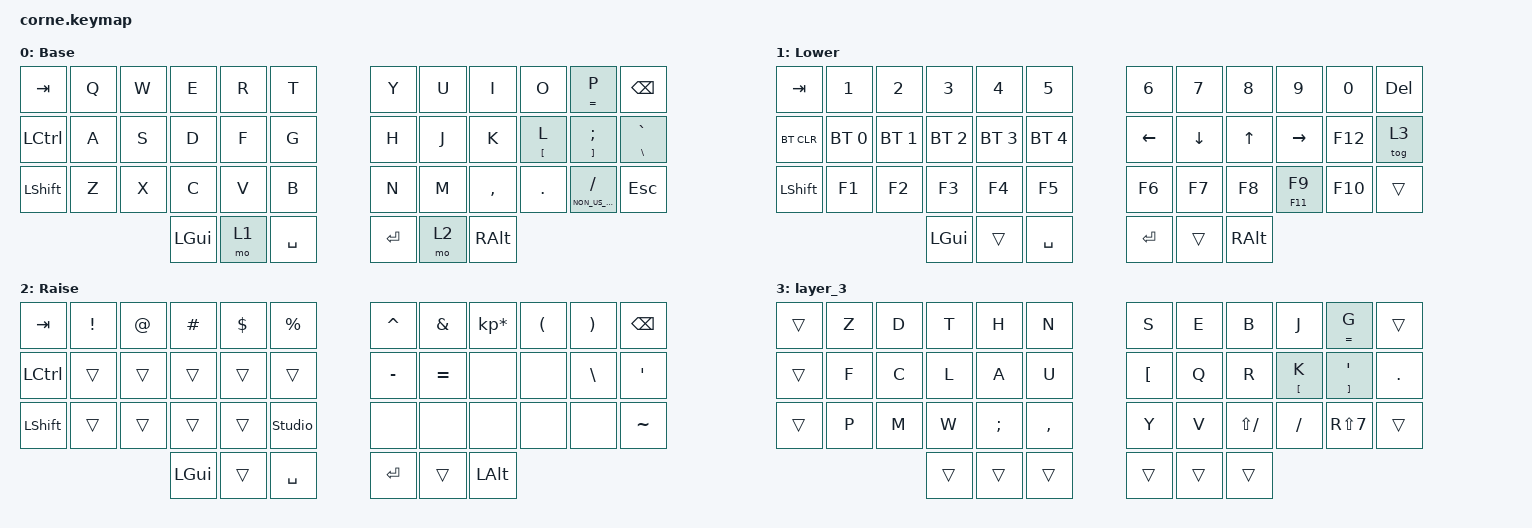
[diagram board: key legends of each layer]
/*
 * Copyright (c) 2020 The ZMK Contributors
 *
 * SPDX-License-Identifier: MIT
 */

#include <behaviors.dtsi>
#include <dt-bindings/zmk/bt.h>
#include <dt-bindings/zmk/keys.h>

/ {
    combos {
        compatible = "zmk,combos";

        lr0 {
            bindings = <&to 0>;
            key-positions = <8 19 21>;
            timeout-ms = <50>;
        };

        backspase {
            bindings = <&kp BACKSPACE>;
            key-positions = <19 20 21>;
            timeout-ms = <50>;
        };

        lr1 {
            bindings = <&to 1>;
            key-positions = <13 14>;
            timeout-ms = <50>;
        };
    };

behaviors {
        hml: homerow_mod_left {
            compatible = "zmk,behavior-hold-tap";
            #binding-cells = <2>;
            flavor = "balanced";
            tapping-term-ms = <280>;
            quick-tap-ms = <175>;
            require-prior-idle-ms = <150>;
            bindings = <&kp>, <&kp>;
        };

        hmr: homerow_mod_right {
            compatible = "zmk,behavior-hold-tap";
            #binding-cells = <2>;
            flavor = "balanced";
            tapping-term-ms = <280>;
            quick-tap-ms = <175>;
            require-prior-idle-ms = <150>;
            bindings = <&kp>, <&kp>;
        };
    };

    keymap {
        compatible = "zmk,keymap";

        default_layer {
            // -----------------------------------------------------------------------------------------
            // |  TAB |  Q  |  W  |  E  |  R  |  T  |   |  Y  |  U   |  I  |  O  |  P  | BKSP |
            // | CTRL |  A  |  S  |  D  |  F  |  G  |   |  H  |  J   |  K  |  L  |  ;  |  '   |
            // | SHFT |  Z  |  X  |  C  |  V  |  B  |   |  N  |  M   |  ,  |  .  |  /  | ESC  |
            //                    | GUI | LWR | SPC |   | ENT | RSE  | ALT |

            display-name = "Base";
            bindings = <
&kp TAB    &kp Q  &kp W  &kp E     &kp R  &kp T        &kp Y    &kp U  &kp I      &kp O               &hmr EQUAL P                 &kp BSPC
&kp LCTRL  &kp A  &kp S  &kp D     &kp F  &kp G        &kp H    &kp J  &kp K      &hmr LEFT_BRACKET L  &hmr RIGHT_BRACKET SEMI      &hmr BACKSLASH GRAVE
&kp LSHFT  &kp Z  &kp X  &kp C     &kp V  &kp B        &kp N    &kp M  &kp COMMA  &kp DOT             &hmr NON_US_BACKSLASH SLASH  &kp ESC
                         &kp LGUI  &mo 1  &kp SPACE    &kp RET  &mo 2  &kp RALT
            >;
        };

        lower_layer {
            // -----------------------------------------------------------------------------------------
            // |  TAB |  1  |  2  |  3  |  4  |  5  |   |  6  |  7  |  8  |  9  |  0  | BKSP |
            // | BTCLR| BT1 | BT2 | BT3 | BT4 | BT5 |   | LFT | DWN |  UP | RGT |     |      |
            // | SHFT |     |     |     |     |     |   |     |     |     |     |     |      |
            //                    | GUI |     | SPC |   | ENT |     | ALT |

            display-name = "Lower";
            bindings = <
&kp TAB     &kp N1        &kp N2        &kp N3        &kp N4        &kp N5          &kp N6    &kp N7    &kp N8    &kp N9      &kp N0   &kp DELETE
&bt BT_CLR  &bt BT_SEL 0  &bt BT_SEL 1  &bt BT_SEL 2  &bt BT_SEL 3  &bt BT_SEL 4    &kp LEFT  &kp DOWN  &kp UP    &kp RIGHT   &kp F12  &tog 3
&kp LSHFT   &kp F1        &kp F2        &kp F3        &kp F4        &kp F5          &kp F6    &kp F7    &kp F8    &hmr F11 F9  &kp F10  &trans
                                        &kp LGUI      &trans        &kp SPACE       &kp RET   &trans    &kp RALT
            >;
        };

        raise_layer {
            // -----------------------------------------------------------------------------------------
            // |  TAB |  !  |  @  |  #  |  $  |  %  |   |  ^  |  &  |  *  |  (  |  )  | BKSP |
            // | CTRL |     |     |     |     |     |   |  -  |  =  |  [  |  ]  |  \  |  `   |
            // | SHFT |     |     |     |     |     |   |  _  |  +  |  {  |  }  | "|" |  ~   |
            //                    | GUI |     | SPC |   | ENT |     | ALT |

            display-name = "Raise";
            bindings = <
&kp TAB    &kp EXCL  &kp AT  &kp HASH  &kp DLLR  &kp PRCNT         &kp CARET  &kp AMPS   &kp KP_MULTIPLY  &kp LPAR  &kp RPAR  &kp BSPC
&kp LCTRL  &trans    &trans  &trans    &trans    &trans            &kp MINUS  &kp EQUAL  &none            &none     &kp BSLH  &kp SINGLE_QUOTE
&kp LSHFT  &trans    &trans  &trans    &trans    &studio_unlock    &none      &none      &none            &none     &none     &kp TILDE
                             &kp LGUI  &trans    &kp SPACE         &kp RET    &trans     &kp LEFT_ALT
            >;
        };

        layer_3 {
            bindings = <
&trans  &kp Z  &kp D  &kp T   &kp H     &kp N        &kp S             &kp E   &kp B          &kp J               &mt EQUAL G            &trans
&trans  &kp F  &kp C  &kp L   &kp A     &kp U        &kp LEFT_BRACKET  &kp Q   &kp R          &mt LEFT_BRACKET K  &mt RIGHT_BRACKET SQT  &kp DOT
&trans  &kp P  &kp M  &kp W   &kp SEMI  &kp COMMA    &kp Y             &kp V   &kp LS(SLASH)  &kp SLASH           &kp RS(N7)             &trans
                      &trans  &trans    &trans       &trans            &trans  &trans
            >;
        };
    };
};
